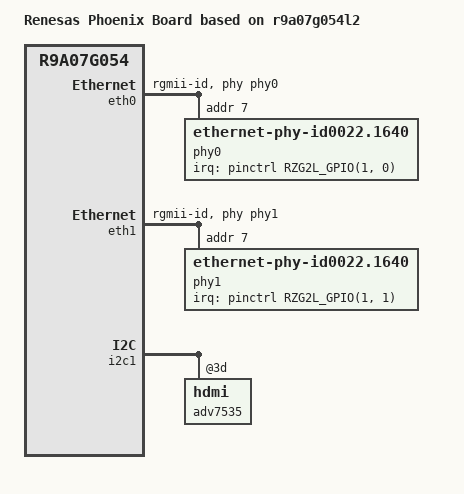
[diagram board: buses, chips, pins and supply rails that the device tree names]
// SPDX-License-Identifier: (GPL-2.0-only OR BSD-2-Clause)
/*
 * Device Tree Source for the RZ/G2L SMARC PHOENIX board
 *
 * Copyright (C) 2022 Regulus Corp.
 */

/dts-v1/;
#include "r9a07g054l2.dtsi"
#include "rzg2l-smarc-som.dtsi"
#include "rzg2l-smarc-pinfunction.dtsi"
#include "rz-smarc-common.dtsi"
//#include "rzg2l-smarc.dtsi"
#include "rzg2l-smarc-phoenix.dtsi"

/ {
	model = "Renesas Phoenix Board based on r9a07g054l2";
	compatible = "renesas,smarc-phoenix", "renesas,r9a07g054l2", "renesas,r9a07g054";

	reserved-memory {
		#address-cells = <2>;
		#size-cells = <2>;
		ranges;

		/* device specific region for contiguous allocations */
		drp_reserved: DRP-AI {
			reusable;
			reg = <0x0 0x80000000 0x0 0x20000000>;
		};

		image_buf0: image_buf@0 {
			compatible = "shared-dma-pool";
			reusable;
			reg = <0x0 0xB0000000 0x0 0x04000000>;
			label = "image_buf0";
		};

		isp_work0: SIMPLE_ISP {
			reusable;
			reg = <0x0 0xB4000000 0x0 0x03000000>;
		};
	};
};

&eth0 {
	pinctrl-0 = <&eth0_pins>;
	pinctrl-names = "default";
	phy-handle = <&phy0>;
	phy-mode = "rgmii-id";
	status = "okay";

	phy0: ethernet-phy@7 {
		compatible = "ethernet-phy-id0022.1640",
			     "ethernet-phy-ieee802.3-c22";
		reg = <7>;
		rxc-skew-psec = <2400>;
		txc-skew-psec = <2400>;
		rxdv-skew-psec = <0>;
		txdv-skew-psec = <0>;
		rxd0-skew-psec = <0>;
		rxd1-skew-psec = <0>;
		rxd2-skew-psec = <0>;
		rxd3-skew-psec = <0>;
		txd0-skew-psec = <0>;
		txd1-skew-psec = <0>;
		txd2-skew-psec = <0>;
		txd3-skew-psec = <0>;

		interrupt-parent = <&pinctrl>;
		interrupts = <RZG2L_GPIO(1, 0) IRQ_TYPE_LEVEL_LOW>;
	};
};

&eth1 {
	pinctrl-0 = <&eth1_pins>;
	pinctrl-names = "default";
	phy-handle = <&phy1>;
	phy-mode = "rgmii-id";
	status = "okay";

	phy1: ethernet-phy@7 {
		compatible = "ethernet-phy-id0022.1640",
			     "ethernet-phy-ieee802.3-c22";
		reg = <7>;
		rxc-skew-psec = <2400>;
		txc-skew-psec = <2400>;
		rxdv-skew-psec = <0>;
		txdv-skew-psec = <0>;
		rxd0-skew-psec = <0>;
		rxd1-skew-psec = <0>;
		rxd2-skew-psec = <0>;
		rxd3-skew-psec = <0>;
		txd0-skew-psec = <0>;
		txd1-skew-psec = <0>;
		txd2-skew-psec = <0>;
		txd3-skew-psec = <0>;

		interrupt-parent = <&pinctrl>;
		interrupts = <RZG2L_GPIO(1, 1) IRQ_TYPE_LEVEL_LOW>;
	};
};

&i2c1 {
	adv7535: hdmi@3d {
		ports {
			/delete-node/ port@2;
		};
	};
};

&pinctrl {
	/delete-node/ gpio-sd0-pwr-en-hog;
	/delete-node/ sd0-dev-sel-hog;
	/delete-node/ sd1-pwr-en-hog;

	eth0_pins: eth0 {
		pinmux = <RZG2L_PORT_PINMUX(28, 1, 1)>, /* ET0_LINKSTA */
			 <RZG2L_PORT_PINMUX(27, 1, 1)>, /* ET0_MDC */
			 <RZG2L_PORT_PINMUX(28, 0, 1)>, /* ET0_MDIO */
			 <RZG2L_PORT_PINMUX(20, 0, 1)>, /* ET0_TXC */
			 <RZG2L_PORT_PINMUX(20, 1, 1)>, /* ET0_TX_CTL */
			 <RZG2L_PORT_PINMUX(20, 2, 1)>, /* ET0_TXD0 */
			 <RZG2L_PORT_PINMUX(21, 0, 1)>, /* ET0_TXD1 */
			 <RZG2L_PORT_PINMUX(21, 1, 1)>, /* ET0_TXD2 */
			 <RZG2L_PORT_PINMUX(22, 0, 1)>, /* ET0_TXD3 */
			 <RZG2L_PORT_PINMUX(24, 0, 1)>, /* ET0_RXC */
			 <RZG2L_PORT_PINMUX(24, 1, 1)>, /* ET0_RX_CTL */
			 <RZG2L_PORT_PINMUX(25, 0, 1)>, /* ET0_RXD0 */
			 <RZG2L_PORT_PINMUX(25, 1, 1)>, /* ET0_RXD1 */
			 <RZG2L_PORT_PINMUX(26, 0, 1)>, /* ET0_RXD2 */
			 <RZG2L_PORT_PINMUX(26, 1, 1)>; /* ET0_RXD3 */
	};

	eth1_pins: eth1 {
		pinmux = <RZG2L_PORT_PINMUX(37, 2, 1)>, /* ET1_LINKSTA */
			 <RZG2L_PORT_PINMUX(37, 0, 1)>, /* ET1_MDC */
			 <RZG2L_PORT_PINMUX(37, 1, 1)>, /* ET1_MDIO */
			 <RZG2L_PORT_PINMUX(29, 0, 1)>, /* ET1_TXC */
			 <RZG2L_PORT_PINMUX(29, 1, 1)>, /* ET1_TX_CTL */
			 <RZG2L_PORT_PINMUX(30, 0, 1)>, /* ET1_TXD0 */
			 <RZG2L_PORT_PINMUX(30, 1, 1)>, /* ET1_TXD1 */
			 <RZG2L_PORT_PINMUX(31, 0, 1)>, /* ET1_TXD2 */
			 <RZG2L_PORT_PINMUX(31, 1, 1)>, /* ET1_TXD3 */
			 <RZG2L_PORT_PINMUX(33, 1, 1)>, /* ET1_RXC */
			 <RZG2L_PORT_PINMUX(34, 0, 1)>, /* ET1_RX_CTL */
			 <RZG2L_PORT_PINMUX(34, 1, 1)>, /* ET1_RXD0 */
			 <RZG2L_PORT_PINMUX(35, 0, 1)>, /* ET1_RXD1 */
			 <RZG2L_PORT_PINMUX(35, 1, 1)>, /* ET1_RXD2 */
			 <RZG2L_PORT_PINMUX(36, 0, 1)>; /* ET1_RXD3 */
	};
};
